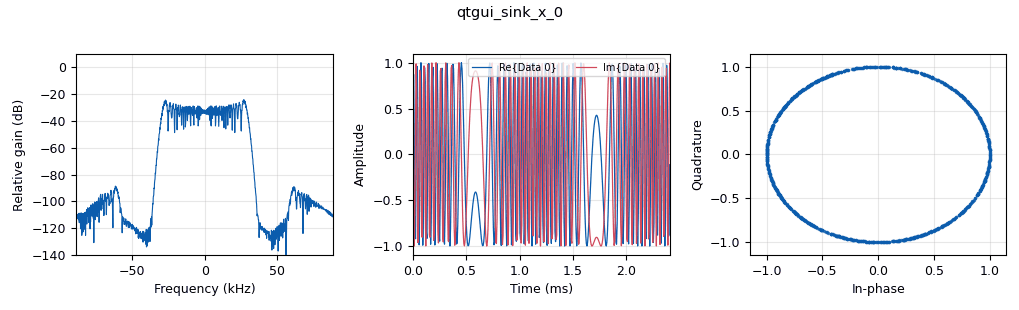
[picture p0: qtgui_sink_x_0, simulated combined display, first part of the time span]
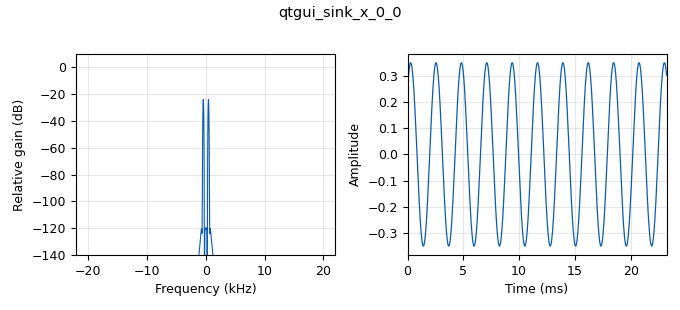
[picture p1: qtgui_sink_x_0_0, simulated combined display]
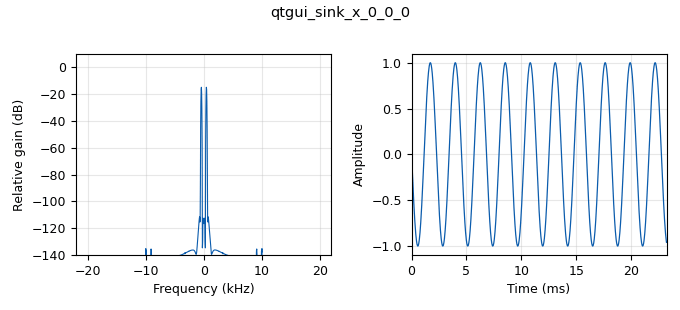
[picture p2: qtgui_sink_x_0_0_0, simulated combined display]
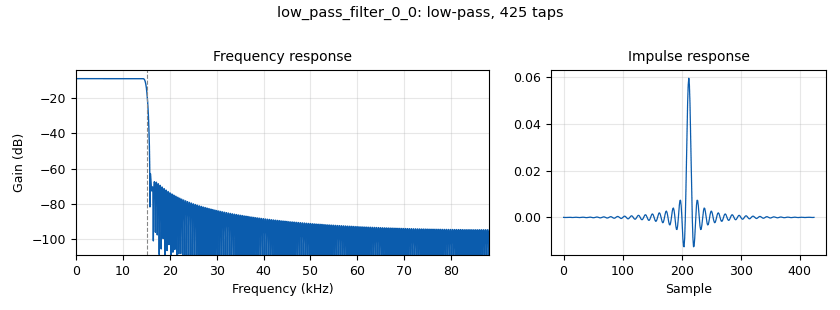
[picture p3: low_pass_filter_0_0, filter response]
<?xml version='1.0' encoding='utf-8'?>
<?grc format='1' created='3.7.13'?>
<flow_graph>
<block>
<key>options</key>
<param><key>id</key><value>top_block</value></param>
<param><key>generate_options</key><value>qt_gui</value></param>
</block>
<block>
<key>variable</key>
<param><key>id</key><value>interpolation</value></param>
<param><key>value</key><value>4</value></param>
</block>
<block>
<key>variable</key>
<param><key>id</key><value>samp_rate</value></param>
<param><key>value</key><value>44100</value></param>
</block>
<block>
<key>variable_qtgui_range</key>
<param><key>id</key><value>signalFreq</value></param>
<param><key>value</key><value>440</value></param>
<param><key>label</key><value>Signal Freq</value></param>
<param><key>orient</key><value>Qt.Horizontal</value></param>
<param><key>start</key><value>0</value></param>
<param><key>step</key><value>10</value></param>
<param><key>stop</key><value>15e3</value></param>
</block>
<block>
<key>analog_fm_deemph</key>
<param><key>id</key><value>analog_fm_deemph_0</value></param>
<param><key>samp_rate</key><value>samp_rate * interpolation</value></param>
<param><key>tau</key><value>50e-6</value></param>
</block>
<block>
<key>analog_fm_preemph</key>
<param><key>id</key><value>analog_fm_preemph_0</value></param>
<param><key>fh</key><value>-1.0</value></param>
<param><key>samp_rate</key><value>samp_rate * interpolation</value></param>
<param><key>tau</key><value>50e-6</value></param>
</block>
<block>
<key>analog_sig_source_x</key>
<param><key>id</key><value>analog_sig_source_x_0_0</value></param>
<param><key>amp</key><value>1</value></param>
<param><key>freq</key><value>signalFreq</value></param>
<param><key>offset</key><value>0</value></param>
<param><key>type</key><value>float</value></param>
<param><key>samp_rate</key><value>samp_rate</value></param>
<param><key>waveform</key><value>analog.GR_COS_WAVE</value></param>
</block>
<block>
<key>audio_sink</key>
<param><key>id</key><value>audio_sink_0</value></param>
<param><key>samp_rate</key><value>44100</value></param>
</block>
<block>
<key>blocks_wavfile_source</key>
<param><key>id</key><value>blocks_wavfile_source_0</value></param>
<param><key>_enabled</key><value>0</value></param>
<param><key>file</key><value>C:\Temp\01.wav</value></param>
<param><key>repeat</key><value>True</value></param>
</block>
<block>
<key>epy_block</key>
<param><key>id</key><value>epy_block_0</value></param>
<param><key>_source_code</key><value>import numpy as np
from gnuradio import gr

class blk(gr.sync_block):
    """Embedded Python Block example - a simple FM modulator"""

    def __init__(self):
        gr.sync_block.__init__(
            self,
            name='My FM Mod',
            in_sig=[np.float32],
            out_sig=[np.complex64]
        )

        self.last_value = 0.0

    def work(self, input_items, output_items):
        # Freq -&gt; Phase
        input_items[0][0] += self.last_value
        phase = input_items[0].cumsum()
        self.last_value = phase[-1]

        # Phase -&gt; I/Q
        output_items[0][:] = np.cos(phase) + 1j * np.sin(phase)

        return len(output_items[0])
</value></param>
</block>
<block>
<key>epy_block</key>
<param><key>id</key><value>epy_block_0_0</value></param>
<param><key>_source_code</key><value>import numpy as np
from gnuradio import gr

class blk(gr.sync_block):
    """Embedded Python Block example - a simple FM demodulator"""

    def __init__(self):
        gr.sync_block.__init__(
            self,
            name='My FM Demod',
            in_sig=[np.complex64],
            out_sig=[np.float32]
        )

        self.last_value = 0.0

    def work(self, input_items, output_items):
        # I/Q -&gt; Phase
        phase = np.angle(input_items[0])

        # Phase -&gt; Freq
        freq = np.zeros(len(phase), dtype=np.float32)
        freq[0] = phase[0] - self.last_value
        freq[1:] = phase[1:] - phase[:-1]
        self.last_value = phase[-1]

        # Unwrap
        freq = np.where(freq &gt; np.pi, freq - 2 * np.pi, freq)
        freq = np.where(freq &lt; -np.pi, freq + 2 * np.pi, freq)

        output_items[0][:] = freq

        return len(output_items[0])
</value></param>
</block>
<block>
<key>low_pass_filter</key>
<param><key>id</key><value>low_pass_filter_0_0</value></param>
<param><key>cutoff_freq</key><value>15e3</value></param>
<param><key>decim</key><value>interpolation</value></param>
<param><key>type</key><value>fir_filter_fff</value></param>
<param><key>gain</key><value>0.35</value></param>
<param><key>samp_rate</key><value>samp_rate * interpolation</value></param>
<param><key>width</key><value>1e3</value></param>
<param><key>win</key><value>firdes.WIN_HAMMING</value></param>
</block>
<block>
<key>qtgui_sink_x</key>
<param><key>id</key><value>qtgui_sink_x_0</value></param>
<param><key>bw</key><value>samp_rate * interpolation</value></param>
<param><key>fc</key><value>0</value></param>
<param><key>freqchangevar</key><value>None</value></param>
<param><key>fftsize</key><value>1024</value></param>
<param><key>showports</key><value>True</value></param>
<param><key>type</key><value>complex</value></param>
<param><key>wintype</key><value>firdes.WIN_BLACKMAN_hARRIS</value></param>
</block>
<block>
<key>qtgui_sink_x</key>
<param><key>id</key><value>qtgui_sink_x_0_0</value></param>
<param><key>bw</key><value>samp_rate</value></param>
<param><key>fc</key><value>0</value></param>
<param><key>freqchangevar</key><value>None</value></param>
<param><key>fftsize</key><value>1024</value></param>
<param><key>showports</key><value>True</value></param>
<param><key>type</key><value>float</value></param>
<param><key>wintype</key><value>firdes.WIN_BLACKMAN_hARRIS</value></param>
</block>
<block>
<key>qtgui_sink_x</key>
<param><key>id</key><value>qtgui_sink_x_0_0_0</value></param>
<param><key>bw</key><value>samp_rate</value></param>
<param><key>fc</key><value>0</value></param>
<param><key>freqchangevar</key><value>None</value></param>
<param><key>fftsize</key><value>1024</value></param>
<param><key>showports</key><value>True</value></param>
<param><key>type</key><value>float</value></param>
<param><key>wintype</key><value>firdes.WIN_BLACKMAN_hARRIS</value></param>
</block>
<block>
<key>rational_resampler_xxx</key>
<param><key>id</key><value>rational_resampler_xxx_0_0_0</value></param>
<param><key>decim</key><value>samp_rate</value></param>
<param><key>interp</key><value>samp_rate * interpolation</value></param>
<param><key>taps</key><value></value></param>
<param><key>type</key><value>fff</value></param>
</block>
<connection><source_block_id>analog_fm_deemph_0</source_block_id><sink_block_id>low_pass_filter_0_0</sink_block_id><source_key>0</source_key><sink_key>0</sink_key></connection>
<connection><source_block_id>analog_fm_preemph_0</source_block_id><sink_block_id>epy_block_0</sink_block_id><source_key>0</source_key><sink_key>0</sink_key></connection>
<connection><source_block_id>analog_sig_source_x_0_0</source_block_id><sink_block_id>qtgui_sink_x_0_0_0</sink_block_id><source_key>0</source_key><sink_key>0</sink_key></connection>
<connection><source_block_id>analog_sig_source_x_0_0</source_block_id><sink_block_id>rational_resampler_xxx_0_0_0</sink_block_id><source_key>0</source_key><sink_key>0</sink_key></connection>
<connection><source_block_id>blocks_wavfile_source_0</source_block_id><sink_block_id>rational_resampler_xxx_0_0_0</sink_block_id><source_key>0</source_key><sink_key>0</sink_key></connection>
<connection><source_block_id>epy_block_0</source_block_id><sink_block_id>epy_block_0_0</sink_block_id><source_key>0</source_key><sink_key>0</sink_key></connection>
<connection><source_block_id>epy_block_0</source_block_id><sink_block_id>qtgui_sink_x_0</sink_block_id><source_key>0</source_key><sink_key>0</sink_key></connection>
<connection><source_block_id>epy_block_0_0</source_block_id><sink_block_id>analog_fm_deemph_0</sink_block_id><source_key>0</source_key><sink_key>0</sink_key></connection>
<connection><source_block_id>low_pass_filter_0_0</source_block_id><sink_block_id>audio_sink_0</sink_block_id><source_key>0</source_key><sink_key>0</sink_key></connection>
<connection><source_block_id>low_pass_filter_0_0</source_block_id><sink_block_id>qtgui_sink_x_0_0</sink_block_id><source_key>0</source_key><sink_key>0</sink_key></connection>
<connection><source_block_id>rational_resampler_xxx_0_0_0</source_block_id><sink_block_id>analog_fm_preemph_0</sink_block_id><source_key>0</source_key><sink_key>0</sink_key></connection>
</flow_graph>
